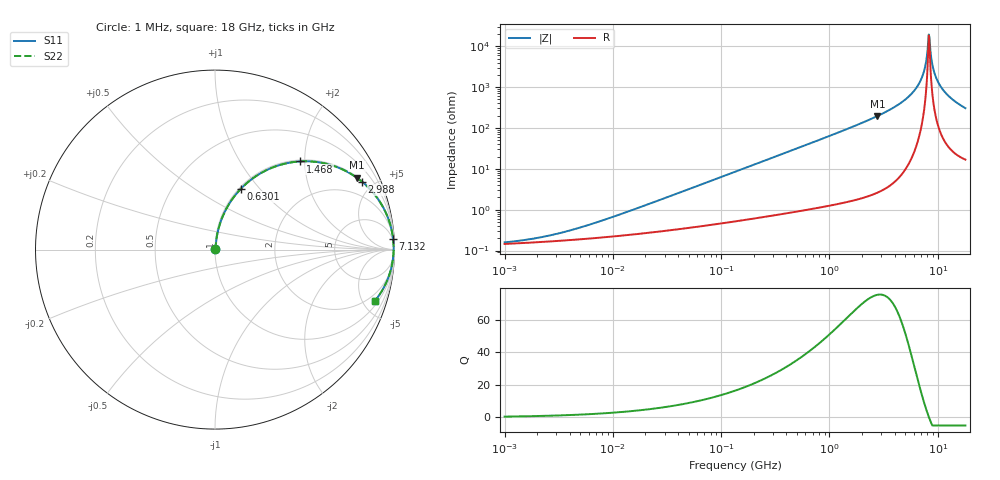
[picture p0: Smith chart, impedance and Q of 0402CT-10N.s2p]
# MHz  S  MA  R  50
!Freq  MagS11  AngS11  MagS21  AngS21  MagS12  AngS12  MagS22  AngS22
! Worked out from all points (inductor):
!   801 points, 1 MHz to 18 GHz, reference 50 ohm
!   read as one part in series: L = 10 nH near 10.78 MHz
!   highest Q = 75.4 at 2.776 GHz (marker M1), where L = 11.3 nH
!   self-resonance near 8.262 GHz
!   S11 on the Smith chart (normalised r, x): 1 MHz: 1.00, +0.00; 630.1 MHz: 1.02, +0.80; 1.468 GHz: 1.03, +1.90; 2.988 GHz: 1.06, +4.31; 7.132 GHz: 3, +34; 18 GHz: 1.34, -6.10
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1  0.001577 23.4  0.9986 -0.0  0.9986 -0.0  0.001577 23.4
2.272904  0.002161 41.2  0.9984 -0.1  0.9984 -0.1  0.002161 41.2
5.166095  0.003751 59.5  0.9981 -0.2  0.9981 -0.2  0.003751 59.5
26.36347  0.01676 79.1  0.997 -0.9  0.997 -0.9  0.01676 79.1
134.5374  0.08398 81.7  0.9914 -4.8  0.9914 -4.8  0.08398 81.7
630.1274  0.3669 67.0  0.9211 -21.5  0.9211 -21.5  0.3669 67.0
695.0327  0.3992 65.1  0.9074 -23.5  0.9074 -23.5  0.3992 65.1
1467.756  0.684 45.9  0.7184 -43.2  0.7184 -43.2  0.684 45.9
2775.897  0.8864 26.8  0.4513 -62.4  0.4513 -62.4  0.8864 26.8
2987.693  0.9027 24.7  0.4185 -64.5  0.4185 -64.5  0.9027 24.7
3546.872  0.9347 20.0  0.3428 -69.2  0.3428 -69.2  0.9347 20.0
5581.661  0.9844 8.8  0.1537 -79.8  0.1537 -79.8  0.9844 8.8
6465.896  0.9915 5.5  0.09588 -82.1  0.09588 -82.1  0.9915 5.5
7131.906  0.9941 3.3  0.05806 -82.5  0.05806 -82.5  0.9941 3.3
7582.565  0.995 2.0  0.03468 -80.7  0.03468 -80.7  0.995 2.0
8061.701  0.9952 0.6  0.01195 -66.1  0.01195 -66.1  0.9952 0.6
8363.595  0.9951 -0.2  0.005798 31.7  0.005798 31.7  0.9951 -0.2
8571.113  0.9949 -0.7  0.01341 67.1  0.01341 67.1  0.9949 -0.7
9338.819  0.9933 -2.6  0.04552 80.3  0.04552 80.3  0.9933 -2.6
10556.33  0.9889 -5.3  0.09246 80.5  0.09246 80.5  0.9889 -5.3
13161.67  0.9742 -10.3  0.1787 76.6  0.1787 76.6  0.9742 -10.3
18000  0.9352 -17.8  0.3064 69.0  0.3064 69.0  0.9352 -17.8
